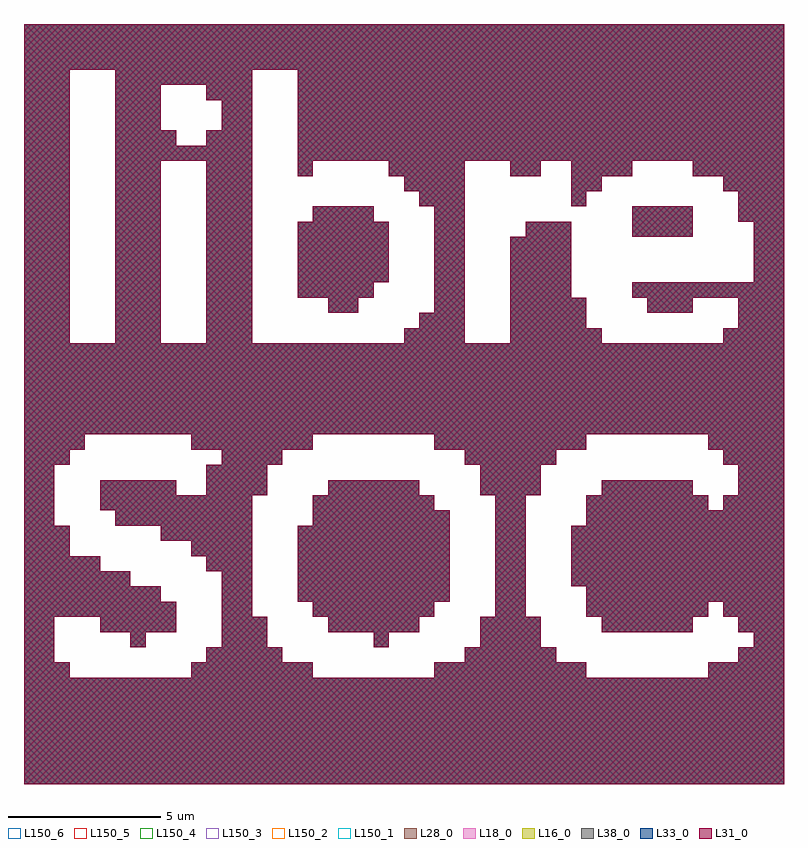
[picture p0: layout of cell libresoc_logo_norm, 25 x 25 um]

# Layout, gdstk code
import gdstk
lib = gdstk.Library(unit=1e-6, precision=1e-09)
def R(c, l, rs):  # rectangles x0, y0, x1, y1
    for r in rs: c.add(gdstk.rectangle(r[:2], r[2:], *l))
def A(c, l, x, y, w, h, nx, ny, dx, dy):  # array of equal rectangles
    R(c, l, [(x+i*dx, y+j*dy, x+i*dx+w, y+j*dy+h) for i in range(nx) for j in range(ny)])
L16_0 = (16, 0)
L18_0 = (18, 0)
L28_0 = (28, 0)
L31_0 = (31, 0)
L33_0 = (33, 0)
L38_0 = (38, 0)
L150_1 = (150, 1)
L150_2 = (150, 2)
L150_3 = (150, 3)
L150_4 = (150, 4)
L150_5 = (150, 5)
L150_6 = (150, 6)

libresoc_logo_norm = lib.new_cell('libresoc_logo_norm')
A(libresoc_logo_norm, L16_0, -12.5, -12.5, 25, 0.5, 1, 7, 0, 0.5)
A(libresoc_logo_norm, L16_0, -12.5, -8.5, 1, 0.5, 1, 3, 0, 0.5)
A(libresoc_logo_norm, L16_0, -6, -7, 1, 0.5, 1, 3, 0, 0.5)
A(libresoc_logo_norm, L16_0, 3, -7, 1, 0.5, 1, 8, 0, 0.5)
A(libresoc_logo_norm, L16_0, -3.5, -6.5, 5, 0.5, 1, 5, 0, 0.5)
A(libresoc_logo_norm, L16_0, 5.5, -6, 7, 0.5, 1, 4, 0, 0.5)
A(libresoc_logo_norm, L16_0, -12.5, -4, 1, 0.5, 1, 4, 0, 0.5)
A(libresoc_logo_norm, L16_0, -12.5, -1, 25, 0.5, 1, 6, 0, 0.5)
A(libresoc_logo_norm, L16_0, -12.5, 2, 1.5, 0.5, 3, 12, 3, 0.5)
A(libresoc_logo_norm, L16_0, 1, 3, 1, 0.5, 1, 7, 0, 0.5)
A(libresoc_logo_norm, L16_0, 3.5, 3.5, 2, 0.5, 1, 4, 0, 0.5)
A(libresoc_logo_norm, L16_0, -3.5, 4, 3, 0.5, 1, 4, 0, 0.5)
A(libresoc_logo_norm, L16_0, 11.5, 4, 1, 0.5, 1, 4, 0, 0.5)
A(libresoc_logo_norm, L16_0, -12.5, 8, 1.5, 0.5, 1, 4, 0, 0.5)
A(libresoc_logo_norm, L16_0, -3.5, 8, 16, 0.5, 1, 6, 0, 0.5)
A(libresoc_logo_norm, L16_0, -12.5, 10, 1.5, 0.5, 3, 1, 3, 0)
A(libresoc_logo_norm, L16_0, -12.5, 11, 25, 0.5, 1, 3, 0, 0.5)
R(libresoc_logo_norm, L16_0, [(-12.5,-9,-11,-8.5), (-7,-9,-3,-8.5), (1,-9,6,-8.5), (10,-9,12.5,-8.5), (-6.5,-8.5,-4,-8), (2,-8.5,5,-8), (11,-8.5,12.5,-8), (-9,-8,-8.5,-7.5), (-6,-8,-4.5,-7.5), (-1,-8,-0.5,-7.5), (2.5,-8,4.5,-7.5), (11.5,-8,12.5,-7.5), (-10,-7.5,-7.5,-7), (-6,-7.5,-4.5,-7), (-2.5,-7.5,0.5,-7), (2.5,-7.5,4.5,-7), (6.5,-7.5,9.5,-7), (11,-7.5,12.5,-7), (-12.5,-7,-7.5,-6.5), (-3,-7,1,-6.5), (6,-7,10,-6.5), (10.5,-7,12.5,-6.5), (-12.5,-6.5,-8,-6), (6,-6.5,12.5,-6), (-12.5,-6,-9,-5.5), (-12.5,-5.5,-10,-5), (-6.5,-5.5,-5,-5), (-12.5,-5,-11,-4.5), (-7,-5,-5,-4.5), (-12.5,-4.5,-11,-4), (-8,-4.5,-5,-4), (-9.5,-4,-5,-3.5), (-3,-4,1.5,-3.5), (6,-4,12.5,-3.5), (-10,-3.5,-5,-3), (-3,-3.5,1,-3), (6,-3.5,10,-3), (10.5,-3.5,12.5,-3), (-10,-3,-7.5,-2.5), (-6.5,-3,-4.5,-2.5), (-2.5,-3,0.5,-2.5), (2.5,-3,4.5,-2.5), (6.5,-3,9.5,-2.5), (11,-3,12.5,-2.5), (-6.5,-2.5,-4.5,-2), (2.5,-2.5,4.5,-2), (11,-2.5,12.5,-2), (-12.5,-2,-11,-1.5), (-6,-2,-4,-1.5), (2,-2,5,-1.5), (10.5,-2,12.5,-1.5), (-12.5,-1.5,-10.5,-1), (-7,-1.5,-3,-1), (1,-1.5,6,-1), (10,-1.5,12.5,-1), (0,2,2,2.5), (3.5,2,6.5,2.5), (10.5,2,12.5,2.5), (0.5,2.5,2,3), (3.5,2.5,6,3), (11,2.5,12.5,3), (-2.5,3,-1.5,3.5), (3.5,3,6,3.5), (8,3,9.5,3.5), (11,3,12.5,3.5), (-3.5,3.5,-1,4), (7.5,3.5,12.5,4), (4,5.5,5.5,6), (7.5,5.5,9.5,6), (-3,6,-1,6.5), (7.5,6,9.5,6.5), (11,6,12.5,6.5), (0.5,6.5,2,7), (5.5,6.5,6,7), (11,6.5,12.5,7), (0,7,2,7.5), (5.5,7,6.5,7.5), (10.5,7,12.5,7.5), (-3.5,7.5,-3,8), (-0.5,7.5,2,8), (3.5,7.5,4.5,8), (5.5,7.5,7.5,8), (9.5,7.5,12.5,8), (-9.5,8,-5,8.5), (-9.5,8.5,-7.5,9), (-6.5,8.5,-5,9), (-9.5,9,-8,9.5), (-6,9,-5,9.5), (-9.5,9.5,-8,10), (-6,9.5,-5,10), (-12.5,10.5,-11,11), (-9.5,10.5,-5,11)])
A(libresoc_logo_norm, L18_0, -12.5, -12.5, 25, 0.5, 1, 7, 0, 0.5)
A(libresoc_logo_norm, L18_0, -12.5, -8.5, 1, 0.5, 1, 3, 0, 0.5)
A(libresoc_logo_norm, L18_0, -6, -7, 1, 0.5, 1, 3, 0, 0.5)
A(libresoc_logo_norm, L18_0, 3, -7, 1, 0.5, 1, 8, 0, 0.5)
A(libresoc_logo_norm, L18_0, -3.5, -6.5, 5, 0.5, 1, 5, 0, 0.5)
A(libresoc_logo_norm, L18_0, 5.5, -6, 7, 0.5, 1, 4, 0, 0.5)
A(libresoc_logo_norm, L18_0, -12.5, -4, 1, 0.5, 1, 4, 0, 0.5)
A(libresoc_logo_norm, L18_0, -12.5, -1, 25, 0.5, 1, 6, 0, 0.5)
A(libresoc_logo_norm, L18_0, -12.5, 2, 1.5, 0.5, 3, 12, 3, 0.5)
A(libresoc_logo_norm, L18_0, 1, 3, 1, 0.5, 1, 7, 0, 0.5)
A(libresoc_logo_norm, L18_0, 3.5, 3.5, 2, 0.5, 1, 4, 0, 0.5)
A(libresoc_logo_norm, L18_0, -3.5, 4, 3, 0.5, 1, 4, 0, 0.5)
A(libresoc_logo_norm, L18_0, 11.5, 4, 1, 0.5, 1, 4, 0, 0.5)
A(libresoc_logo_norm, L18_0, -12.5, 8, 1.5, 0.5, 1, 4, 0, 0.5)
A(libresoc_logo_norm, L18_0, -3.5, 8, 16, 0.5, 1, 6, 0, 0.5)
A(libresoc_logo_norm, L18_0, -12.5, 10, 1.5, 0.5, 3, 1, 3, 0)
A(libresoc_logo_norm, L18_0, -12.5, 11, 25, 0.5, 1, 3, 0, 0.5)
R(libresoc_logo_norm, L18_0, [(-12.5,-9,-11,-8.5), (-7,-9,-3,-8.5), (1,-9,6,-8.5), (10,-9,12.5,-8.5), (-6.5,-8.5,-4,-8), (2,-8.5,5,-8), (11,-8.5,12.5,-8), (-9,-8,-8.5,-7.5), (-6,-8,-4.5,-7.5), (-1,-8,-0.5,-7.5), (2.5,-8,4.5,-7.5), (11.5,-8,12.5,-7.5), (-10,-7.5,-7.5,-7), (-6,-7.5,-4.5,-7), (-2.5,-7.5,0.5,-7), (2.5,-7.5,4.5,-7), (6.5,-7.5,9.5,-7), (11,-7.5,12.5,-7), (-12.5,-7,-7.5,-6.5), (-3,-7,1,-6.5), (6,-7,10,-6.5), (10.5,-7,12.5,-6.5), (-12.5,-6.5,-8,-6), (6,-6.5,12.5,-6), (-12.5,-6,-9,-5.5), (-12.5,-5.5,-10,-5), (-6.5,-5.5,-5,-5), (-12.5,-5,-11,-4.5), (-7,-5,-5,-4.5), (-12.5,-4.5,-11,-4), (-8,-4.5,-5,-4), (-9.5,-4,-5,-3.5), (-3,-4,1.5,-3.5), (6,-4,12.5,-3.5), (-10,-3.5,-5,-3), (-3,-3.5,1,-3), (6,-3.5,10,-3), (10.5,-3.5,12.5,-3), (-10,-3,-7.5,-2.5), (-6.5,-3,-4.5,-2.5), (-2.5,-3,0.5,-2.5), (2.5,-3,4.5,-2.5), (6.5,-3,9.5,-2.5), (11,-3,12.5,-2.5), (-6.5,-2.5,-4.5,-2), (2.5,-2.5,4.5,-2), (11,-2.5,12.5,-2), (-12.5,-2,-11,-1.5), (-6,-2,-4,-1.5), (2,-2,5,-1.5), (10.5,-2,12.5,-1.5), (-12.5,-1.5,-10.5,-1), (-7,-1.5,-3,-1), (1,-1.5,6,-1), (10,-1.5,12.5,-1), (0,2,2,2.5), (3.5,2,6.5,2.5), (10.5,2,12.5,2.5), (0.5,2.5,2,3), (3.5,2.5,6,3), (11,2.5,12.5,3), (-2.5,3,-1.5,3.5), (3.5,3,6,3.5), (8,3,9.5,3.5), (11,3,12.5,3.5), (-3.5,3.5,-1,4), (7.5,3.5,12.5,4), (4,5.5,5.5,6), (7.5,5.5,9.5,6), (-3,6,-1,6.5), (7.5,6,9.5,6.5), (11,6,12.5,6.5), (0.5,6.5,2,7), (5.5,6.5,6,7), (11,6.5,12.5,7), (0,7,2,7.5), (5.5,7,6.5,7.5), (10.5,7,12.5,7.5), (-3.5,7.5,-3,8), (-0.5,7.5,2,8), (3.5,7.5,4.5,8), (5.5,7.5,7.5,8), (9.5,7.5,12.5,8), (-9.5,8,-5,8.5), (-9.5,8.5,-7.5,9), (-6.5,8.5,-5,9), (-9.5,9,-8,9.5), (-6,9,-5,9.5), (-9.5,9.5,-8,10), (-6,9.5,-5,10), (-12.5,10.5,-11,11), (-9.5,10.5,-5,11)])
A(libresoc_logo_norm, L28_0, -12.5, -12.5, 25, 0.5, 1, 7, 0, 0.5)
A(libresoc_logo_norm, L28_0, -12.5, -8.5, 1, 0.5, 1, 3, 0, 0.5)
A(libresoc_logo_norm, L28_0, -6, -7, 1, 0.5, 1, 3, 0, 0.5)
A(libresoc_logo_norm, L28_0, 3, -7, 1, 0.5, 1, 8, 0, 0.5)
A(libresoc_logo_norm, L28_0, -3.5, -6.5, 5, 0.5, 1, 5, 0, 0.5)
A(libresoc_logo_norm, L28_0, 5.5, -6, 7, 0.5, 1, 4, 0, 0.5)
A(libresoc_logo_norm, L28_0, -12.5, -4, 1, 0.5, 1, 4, 0, 0.5)
A(libresoc_logo_norm, L28_0, -12.5, -1, 25, 0.5, 1, 6, 0, 0.5)
A(libresoc_logo_norm, L28_0, -12.5, 2, 1.5, 0.5, 3, 12, 3, 0.5)
A(libresoc_logo_norm, L28_0, 1, 3, 1, 0.5, 1, 7, 0, 0.5)
A(libresoc_logo_norm, L28_0, 3.5, 3.5, 2, 0.5, 1, 4, 0, 0.5)
A(libresoc_logo_norm, L28_0, -3.5, 4, 3, 0.5, 1, 4, 0, 0.5)
A(libresoc_logo_norm, L28_0, 11.5, 4, 1, 0.5, 1, 4, 0, 0.5)
A(libresoc_logo_norm, L28_0, -12.5, 8, 1.5, 0.5, 1, 4, 0, 0.5)
A(libresoc_logo_norm, L28_0, -3.5, 8, 16, 0.5, 1, 6, 0, 0.5)
A(libresoc_logo_norm, L28_0, -12.5, 10, 1.5, 0.5, 3, 1, 3, 0)
A(libresoc_logo_norm, L28_0, -12.5, 11, 25, 0.5, 1, 3, 0, 0.5)
R(libresoc_logo_norm, L28_0, [(-12.5,-9,-11,-8.5), (-7,-9,-3,-8.5), (1,-9,6,-8.5), (10,-9,12.5,-8.5), (-6.5,-8.5,-4,-8), (2,-8.5,5,-8), (11,-8.5,12.5,-8), (-9,-8,-8.5,-7.5), (-6,-8,-4.5,-7.5), (-1,-8,-0.5,-7.5), (2.5,-8,4.5,-7.5), (11.5,-8,12.5,-7.5), (-10,-7.5,-7.5,-7), (-6,-7.5,-4.5,-7), (-2.5,-7.5,0.5,-7), (2.5,-7.5,4.5,-7), (6.5,-7.5,9.5,-7), (11,-7.5,12.5,-7), (-12.5,-7,-7.5,-6.5), (-3,-7,1,-6.5), (6,-7,10,-6.5), (10.5,-7,12.5,-6.5), (-12.5,-6.5,-8,-6), (6,-6.5,12.5,-6), (-12.5,-6,-9,-5.5), (-12.5,-5.5,-10,-5), (-6.5,-5.5,-5,-5), (-12.5,-5,-11,-4.5), (-7,-5,-5,-4.5), (-12.5,-4.5,-11,-4), (-8,-4.5,-5,-4), (-9.5,-4,-5,-3.5), (-3,-4,1.5,-3.5), (6,-4,12.5,-3.5), (-10,-3.5,-5,-3), (-3,-3.5,1,-3), (6,-3.5,10,-3), (10.5,-3.5,12.5,-3), (-10,-3,-7.5,-2.5), (-6.5,-3,-4.5,-2.5), (-2.5,-3,0.5,-2.5), (2.5,-3,4.5,-2.5), (6.5,-3,9.5,-2.5), (11,-3,12.5,-2.5), (-6.5,-2.5,-4.5,-2), (2.5,-2.5,4.5,-2), (11,-2.5,12.5,-2), (-12.5,-2,-11,-1.5), (-6,-2,-4,-1.5), (2,-2,5,-1.5), (10.5,-2,12.5,-1.5), (-12.5,-1.5,-10.5,-1), (-7,-1.5,-3,-1), (1,-1.5,6,-1), (10,-1.5,12.5,-1), (0,2,2,2.5), (3.5,2,6.5,2.5), (10.5,2,12.5,2.5), (0.5,2.5,2,3), (3.5,2.5,6,3), (11,2.5,12.5,3), (-2.5,3,-1.5,3.5), (3.5,3,6,3.5), (8,3,9.5,3.5), (11,3,12.5,3.5), (-3.5,3.5,-1,4), (7.5,3.5,12.5,4), (4,5.5,5.5,6), (7.5,5.5,9.5,6), (-3,6,-1,6.5), (7.5,6,9.5,6.5), (11,6,12.5,6.5), (0.5,6.5,2,7), (5.5,6.5,6,7), (11,6.5,12.5,7), (0,7,2,7.5), (5.5,7,6.5,7.5), (10.5,7,12.5,7.5), (-3.5,7.5,-3,8), (-0.5,7.5,2,8), (3.5,7.5,4.5,8), (5.5,7.5,7.5,8), (9.5,7.5,12.5,8), (-9.5,8,-5,8.5), (-9.5,8.5,-7.5,9), (-6.5,8.5,-5,9), (-9.5,9,-8,9.5), (-6,9,-5,9.5), (-9.5,9.5,-8,10), (-6,9.5,-5,10), (-12.5,10.5,-11,11), (-9.5,10.5,-5,11)])
A(libresoc_logo_norm, L31_0, -12.5, -12.5, 25, 0.5, 1, 7, 0, 0.5)
A(libresoc_logo_norm, L31_0, -12.5, -8.5, 1, 0.5, 1, 3, 0, 0.5)
A(libresoc_logo_norm, L31_0, -6, -7, 1, 0.5, 1, 3, 0, 0.5)
A(libresoc_logo_norm, L31_0, 3, -7, 1, 0.5, 1, 8, 0, 0.5)
A(libresoc_logo_norm, L31_0, -3.5, -6.5, 5, 0.5, 1, 5, 0, 0.5)
A(libresoc_logo_norm, L31_0, 5.5, -6, 7, 0.5, 1, 4, 0, 0.5)
A(libresoc_logo_norm, L31_0, -12.5, -4, 1, 0.5, 1, 4, 0, 0.5)
A(libresoc_logo_norm, L31_0, -12.5, -1, 25, 0.5, 1, 6, 0, 0.5)
A(libresoc_logo_norm, L31_0, -12.5, 2, 1.5, 0.5, 3, 12, 3, 0.5)
A(libresoc_logo_norm, L31_0, 1, 3, 1, 0.5, 1, 7, 0, 0.5)
A(libresoc_logo_norm, L31_0, 3.5, 3.5, 2, 0.5, 1, 4, 0, 0.5)
A(libresoc_logo_norm, L31_0, -3.5, 4, 3, 0.5, 1, 4, 0, 0.5)
A(libresoc_logo_norm, L31_0, 11.5, 4, 1, 0.5, 1, 4, 0, 0.5)
A(libresoc_logo_norm, L31_0, -12.5, 8, 1.5, 0.5, 1, 4, 0, 0.5)
A(libresoc_logo_norm, L31_0, -3.5, 8, 16, 0.5, 1, 6, 0, 0.5)
A(libresoc_logo_norm, L31_0, -12.5, 10, 1.5, 0.5, 3, 1, 3, 0)
A(libresoc_logo_norm, L31_0, -12.5, 11, 25, 0.5, 1, 3, 0, 0.5)
R(libresoc_logo_norm, L31_0, [(-12.5,-9,-11,-8.5), (-7,-9,-3,-8.5), (1,-9,6,-8.5), (10,-9,12.5,-8.5), (-6.5,-8.5,-4,-8), (2,-8.5,5,-8), (11,-8.5,12.5,-8), (-9,-8,-8.5,-7.5), (-6,-8,-4.5,-7.5), (-1,-8,-0.5,-7.5), (2.5,-8,4.5,-7.5), (11.5,-8,12.5,-7.5), (-10,-7.5,-7.5,-7), (-6,-7.5,-4.5,-7), (-2.5,-7.5,0.5,-7), (2.5,-7.5,4.5,-7), (6.5,-7.5,9.5,-7), (11,-7.5,12.5,-7), (-12.5,-7,-7.5,-6.5), (-3,-7,1,-6.5), (6,-7,10,-6.5), (10.5,-7,12.5,-6.5), (-12.5,-6.5,-8,-6), (6,-6.5,12.5,-6), (-12.5,-6,-9,-5.5), (-12.5,-5.5,-10,-5), (-6.5,-5.5,-5,-5), (-12.5,-5,-11,-4.5), (-7,-5,-5,-4.5), (-12.5,-4.5,-11,-4), (-8,-4.5,-5,-4), (-9.5,-4,-5,-3.5), (-3,-4,1.5,-3.5), (6,-4,12.5,-3.5), (-10,-3.5,-5,-3), (-3,-3.5,1,-3), (6,-3.5,10,-3), (10.5,-3.5,12.5,-3), (-10,-3,-7.5,-2.5), (-6.5,-3,-4.5,-2.5), (-2.5,-3,0.5,-2.5), (2.5,-3,4.5,-2.5), (6.5,-3,9.5,-2.5), (11,-3,12.5,-2.5), (-6.5,-2.5,-4.5,-2), (2.5,-2.5,4.5,-2), (11,-2.5,12.5,-2), (-12.5,-2,-11,-1.5), (-6,-2,-4,-1.5), (2,-2,5,-1.5), (10.5,-2,12.5,-1.5), (-12.5,-1.5,-10.5,-1), (-7,-1.5,-3,-1), (1,-1.5,6,-1), (10,-1.5,12.5,-1), (0,2,2,2.5), (3.5,2,6.5,2.5), (10.5,2,12.5,2.5), (0.5,2.5,2,3), (3.5,2.5,6,3), (11,2.5,12.5,3), (-2.5,3,-1.5,3.5), (3.5,3,6,3.5), (8,3,9.5,3.5), (11,3,12.5,3.5), (-3.5,3.5,-1,4), (7.5,3.5,12.5,4), (4,5.5,5.5,6), (7.5,5.5,9.5,6), (-3,6,-1,6.5), (7.5,6,9.5,6.5), (11,6,12.5,6.5), (0.5,6.5,2,7), (5.5,6.5,6,7), (11,6.5,12.5,7), (0,7,2,7.5), (5.5,7,6.5,7.5), (10.5,7,12.5,7.5), (-3.5,7.5,-3,8), (-0.5,7.5,2,8), (3.5,7.5,4.5,8), (5.5,7.5,7.5,8), (9.5,7.5,12.5,8), (-9.5,8,-5,8.5), (-9.5,8.5,-7.5,9), (-6.5,8.5,-5,9), (-9.5,9,-8,9.5), (-6,9,-5,9.5), (-9.5,9.5,-8,10), (-6,9.5,-5,10), (-12.5,10.5,-11,11), (-9.5,10.5,-5,11)])
A(libresoc_logo_norm, L33_0, -12.5, -12.5, 25, 0.5, 1, 7, 0, 0.5)
A(libresoc_logo_norm, L33_0, -12.5, -8.5, 1, 0.5, 1, 3, 0, 0.5)
A(libresoc_logo_norm, L33_0, -6, -7, 1, 0.5, 1, 3, 0, 0.5)
A(libresoc_logo_norm, L33_0, 3, -7, 1, 0.5, 1, 8, 0, 0.5)
A(libresoc_logo_norm, L33_0, -3.5, -6.5, 5, 0.5, 1, 5, 0, 0.5)
A(libresoc_logo_norm, L33_0, 5.5, -6, 7, 0.5, 1, 4, 0, 0.5)
A(libresoc_logo_norm, L33_0, -12.5, -4, 1, 0.5, 1, 4, 0, 0.5)
A(libresoc_logo_norm, L33_0, -12.5, -1, 25, 0.5, 1, 6, 0, 0.5)
A(libresoc_logo_norm, L33_0, -12.5, 2, 1.5, 0.5, 3, 12, 3, 0.5)
A(libresoc_logo_norm, L33_0, 1, 3, 1, 0.5, 1, 7, 0, 0.5)
A(libresoc_logo_norm, L33_0, 3.5, 3.5, 2, 0.5, 1, 4, 0, 0.5)
A(libresoc_logo_norm, L33_0, -3.5, 4, 3, 0.5, 1, 4, 0, 0.5)
A(libresoc_logo_norm, L33_0, 11.5, 4, 1, 0.5, 1, 4, 0, 0.5)
A(libresoc_logo_norm, L33_0, -12.5, 8, 1.5, 0.5, 1, 4, 0, 0.5)
A(libresoc_logo_norm, L33_0, -3.5, 8, 16, 0.5, 1, 6, 0, 0.5)
A(libresoc_logo_norm, L33_0, -12.5, 10, 1.5, 0.5, 3, 1, 3, 0)
A(libresoc_logo_norm, L33_0, -12.5, 11, 25, 0.5, 1, 3, 0, 0.5)
R(libresoc_logo_norm, L33_0, [(-12.5,-9,-11,-8.5), (-7,-9,-3,-8.5), (1,-9,6,-8.5), (10,-9,12.5,-8.5), (-6.5,-8.5,-4,-8), (2,-8.5,5,-8), (11,-8.5,12.5,-8), (-9,-8,-8.5,-7.5), (-6,-8,-4.5,-7.5), (-1,-8,-0.5,-7.5), (2.5,-8,4.5,-7.5), (11.5,-8,12.5,-7.5), (-10,-7.5,-7.5,-7), (-6,-7.5,-4.5,-7), (-2.5,-7.5,0.5,-7), (2.5,-7.5,4.5,-7), (6.5,-7.5,9.5,-7), (11,-7.5,12.5,-7), (-12.5,-7,-7.5,-6.5), (-3,-7,1,-6.5), (6,-7,10,-6.5), (10.5,-7,12.5,-6.5), (-12.5,-6.5,-8,-6), (6,-6.5,12.5,-6), (-12.5,-6,-9,-5.5), (-12.5,-5.5,-10,-5), (-6.5,-5.5,-5,-5), (-12.5,-5,-11,-4.5), (-7,-5,-5,-4.5), (-12.5,-4.5,-11,-4), (-8,-4.5,-5,-4), (-9.5,-4,-5,-3.5), (-3,-4,1.5,-3.5), (6,-4,12.5,-3.5), (-10,-3.5,-5,-3), (-3,-3.5,1,-3), (6,-3.5,10,-3), (10.5,-3.5,12.5,-3), (-10,-3,-7.5,-2.5), (-6.5,-3,-4.5,-2.5), (-2.5,-3,0.5,-2.5), (2.5,-3,4.5,-2.5), (6.5,-3,9.5,-2.5), (11,-3,12.5,-2.5), (-6.5,-2.5,-4.5,-2), (2.5,-2.5,4.5,-2), (11,-2.5,12.5,-2), (-12.5,-2,-11,-1.5), (-6,-2,-4,-1.5), (2,-2,5,-1.5), (10.5,-2,12.5,-1.5), (-12.5,-1.5,-10.5,-1), (-7,-1.5,-3,-1), (1,-1.5,6,-1), (10,-1.5,12.5,-1), (0,2,2,2.5), (3.5,2,6.5,2.5), (10.5,2,12.5,2.5), (0.5,2.5,2,3), (3.5,2.5,6,3), (11,2.5,12.5,3), (-2.5,3,-1.5,3.5), (3.5,3,6,3.5), (8,3,9.5,3.5), (11,3,12.5,3.5), (-3.5,3.5,-1,4), (7.5,3.5,12.5,4), (4,5.5,5.5,6), (7.5,5.5,9.5,6), (-3,6,-1,6.5), (7.5,6,9.5,6.5), (11,6,12.5,6.5), (0.5,6.5,2,7), (5.5,6.5,6,7), (11,6.5,12.5,7), (0,7,2,7.5), (5.5,7,6.5,7.5), (10.5,7,12.5,7.5), (-3.5,7.5,-3,8), (-0.5,7.5,2,8), (3.5,7.5,4.5,8), (5.5,7.5,7.5,8), (9.5,7.5,12.5,8), (-9.5,8,-5,8.5), (-9.5,8.5,-7.5,9), (-6.5,8.5,-5,9), (-9.5,9,-8,9.5), (-6,9,-5,9.5), (-9.5,9.5,-8,10), (-6,9.5,-5,10), (-12.5,10.5,-11,11), (-9.5,10.5,-5,11)])
A(libresoc_logo_norm, L38_0, -12.5, -12.5, 25, 0.5, 1, 7, 0, 0.5)
A(libresoc_logo_norm, L38_0, -12.5, -8.5, 1, 0.5, 1, 3, 0, 0.5)
A(libresoc_logo_norm, L38_0, -6, -7, 1, 0.5, 1, 3, 0, 0.5)
A(libresoc_logo_norm, L38_0, 3, -7, 1, 0.5, 1, 8, 0, 0.5)
A(libresoc_logo_norm, L38_0, -3.5, -6.5, 5, 0.5, 1, 5, 0, 0.5)
A(libresoc_logo_norm, L38_0, 5.5, -6, 7, 0.5, 1, 4, 0, 0.5)
A(libresoc_logo_norm, L38_0, -12.5, -4, 1, 0.5, 1, 4, 0, 0.5)
A(libresoc_logo_norm, L38_0, -12.5, -1, 25, 0.5, 1, 6, 0, 0.5)
A(libresoc_logo_norm, L38_0, -12.5, 2, 1.5, 0.5, 3, 12, 3, 0.5)
A(libresoc_logo_norm, L38_0, 1, 3, 1, 0.5, 1, 7, 0, 0.5)
A(libresoc_logo_norm, L38_0, 3.5, 3.5, 2, 0.5, 1, 4, 0, 0.5)
A(libresoc_logo_norm, L38_0, -3.5, 4, 3, 0.5, 1, 4, 0, 0.5)
A(libresoc_logo_norm, L38_0, 11.5, 4, 1, 0.5, 1, 4, 0, 0.5)
A(libresoc_logo_norm, L38_0, -12.5, 8, 1.5, 0.5, 1, 4, 0, 0.5)
A(libresoc_logo_norm, L38_0, -3.5, 8, 16, 0.5, 1, 6, 0, 0.5)
A(libresoc_logo_norm, L38_0, -12.5, 10, 1.5, 0.5, 3, 1, 3, 0)
A(libresoc_logo_norm, L38_0, -12.5, 11, 25, 0.5, 1, 3, 0, 0.5)
R(libresoc_logo_norm, L38_0, [(-12.5,-9,-11,-8.5), (-7,-9,-3,-8.5), (1,-9,6,-8.5), (10,-9,12.5,-8.5), (-6.5,-8.5,-4,-8), (2,-8.5,5,-8), (11,-8.5,12.5,-8), (-9,-8,-8.5,-7.5), (-6,-8,-4.5,-7.5), (-1,-8,-0.5,-7.5), (2.5,-8,4.5,-7.5), (11.5,-8,12.5,-7.5), (-10,-7.5,-7.5,-7), (-6,-7.5,-4.5,-7), (-2.5,-7.5,0.5,-7), (2.5,-7.5,4.5,-7), (6.5,-7.5,9.5,-7), (11,-7.5,12.5,-7), (-12.5,-7,-7.5,-6.5), (-3,-7,1,-6.5), (6,-7,10,-6.5), (10.5,-7,12.5,-6.5), (-12.5,-6.5,-8,-6), (6,-6.5,12.5,-6), (-12.5,-6,-9,-5.5), (-12.5,-5.5,-10,-5), (-6.5,-5.5,-5,-5), (-12.5,-5,-11,-4.5), (-7,-5,-5,-4.5), (-12.5,-4.5,-11,-4), (-8,-4.5,-5,-4), (-9.5,-4,-5,-3.5), (-3,-4,1.5,-3.5), (6,-4,12.5,-3.5), (-10,-3.5,-5,-3), (-3,-3.5,1,-3), (6,-3.5,10,-3), (10.5,-3.5,12.5,-3), (-10,-3,-7.5,-2.5), (-6.5,-3,-4.5,-2.5), (-2.5,-3,0.5,-2.5), (2.5,-3,4.5,-2.5), (6.5,-3,9.5,-2.5), (11,-3,12.5,-2.5), (-6.5,-2.5,-4.5,-2), (2.5,-2.5,4.5,-2), (11,-2.5,12.5,-2), (-12.5,-2,-11,-1.5), (-6,-2,-4,-1.5), (2,-2,5,-1.5), (10.5,-2,12.5,-1.5), (-12.5,-1.5,-10.5,-1), (-7,-1.5,-3,-1), (1,-1.5,6,-1), (10,-1.5,12.5,-1), (0,2,2,2.5), (3.5,2,6.5,2.5), (10.5,2,12.5,2.5), (0.5,2.5,2,3), (3.5,2.5,6,3), (11,2.5,12.5,3), (-2.5,3,-1.5,3.5), (3.5,3,6,3.5), (8,3,9.5,3.5), (11,3,12.5,3.5), (-3.5,3.5,-1,4), (7.5,3.5,12.5,4), (4,5.5,5.5,6), (7.5,5.5,9.5,6), (-3,6,-1,6.5), (7.5,6,9.5,6.5), (11,6,12.5,6.5), (0.5,6.5,2,7), (5.5,6.5,6,7), (11,6.5,12.5,7), (0,7,2,7.5), (5.5,7,6.5,7.5), (10.5,7,12.5,7.5), (-3.5,7.5,-3,8), (-0.5,7.5,2,8), (3.5,7.5,4.5,8), (5.5,7.5,7.5,8), (9.5,7.5,12.5,8), (-9.5,8,-5,8.5), (-9.5,8.5,-7.5,9), (-6.5,8.5,-5,9), (-9.5,9,-8,9.5), (-6,9,-5,9.5), (-9.5,9.5,-8,10), (-6,9.5,-5,10), (-12.5,10.5,-11,11), (-9.5,10.5,-5,11)])
R(libresoc_logo_norm, L150_1, [(-12.5,-12.5,12.5,12.5)])
R(libresoc_logo_norm, L150_2, [(-12.5,-12.5,12.5,12.5)])
R(libresoc_logo_norm, L150_3, [(-12.5,-12.5,12.5,12.5)])
R(libresoc_logo_norm, L150_4, [(-12.5,-12.5,12.5,12.5)])
R(libresoc_logo_norm, L150_5, [(-12.5,-12.5,12.5,12.5)])
R(libresoc_logo_norm, L150_6, [(-12.5,-12.5,12.5,12.5)])

lib.write_gds('libresoc_logo_norm.gds')
